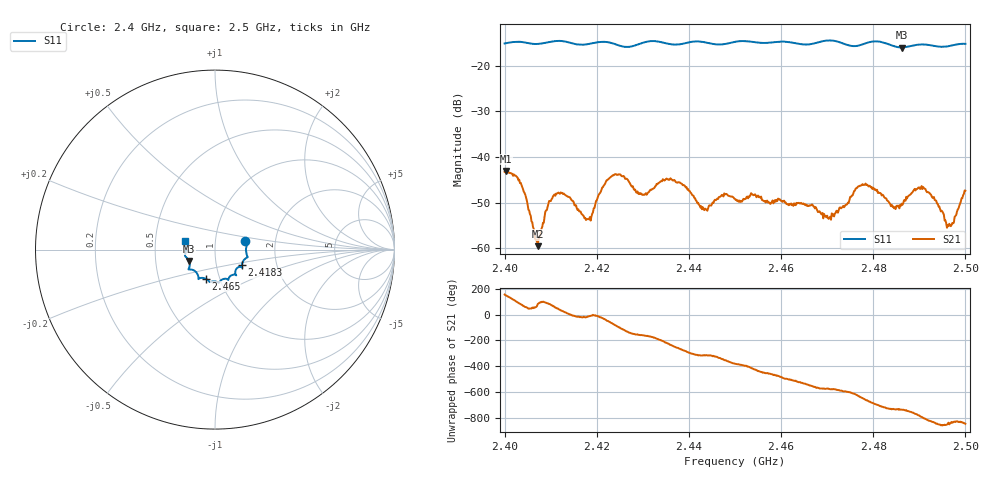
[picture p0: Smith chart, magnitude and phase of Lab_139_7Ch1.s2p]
# Hz S RI R 50
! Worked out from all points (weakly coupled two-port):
!   601 points, 2.4 GHz to 2.5 GHz, reference 50 ohm
!   highest |S21| = -43.06 dB at 2.4003 GHz (marker M1); lowest = -59.6 dB at 2.4072 GHz (marker M2)
!   lowest |S11| = -16.0 dB at 2.4862 GHz (marker M3), VSWR 1.37, Z = 37.1 - j4.8 ohm
!   |S11| at or under -10 dB: start of sweep to end of sweep
!   S12 and S22 are empty: the file has one direction only
!   S11 on the Smith chart (normalised r, x): 2.4 GHz: 1.40, +0.13; 2.4183 GHz: 1.33, -0.24; 2.465 GHz: 0.86, -0.29; 2.5 GHz: 0.71, +0.07
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2.4e9  0.1686 0.0455  -0.00631 0.00263  0 0  0 0
2.400333e9  0.1707 0.0432  -0.00611 0.00348  0 0  0 0
2.403667e9  0.1791 0.029  0.000989 0.00483  0 0  0 0
2.407167e9  0.1728 -0.00531  0.000141 0.00104  0 0  0 0
2.411167e9  0.1817 -0.0399  0.00231 0.00322  0 0  0 0
2.416667e9  0.1548 -0.0684  0.00225 -0.000782  0 0  0 0
2.418333e9  0.1498 -0.0868  0.00204 -0.000416  0 0  0 0
2.423667e9  0.1449 -0.0967  0.00179 -0.00602  0 0  0 0
2.4295e9  0.1129 -0.1331  -0.00366 -0.00144  0 0  0 0
2.433333e9  0.1167 -0.1414  -0.0051 0.000845  0 0  0 0
2.438333e9  0.0802 -0.1521  -0.000139 0.0051  0 0  0 0
2.4435e9  0.0701 -0.1656  0.00199 0.00185  0 0  0 0
2.45e9  0.0251 -0.1806  0.00324 -0.00122  0 0  0 0
2.465e9  -0.0529 -0.1621  -0.00303 -0.000202  0 0  0 0
2.466667e9  -0.0714 -0.1575  -0.00293 0.000706  0 0  0 0
2.470667e9  -0.0923 -0.1645  -0.00171 0.00141  0 0  0 0
2.478167e9  -0.1345 -0.1111  0.00234 0.00438  0 0  0 0
2.483333e9  -0.1422 -0.0959  0.00318 -0.000612  0 0  0 0
2.486167e9  -0.1446 -0.0631  0.00292 -0.000965  0 0  0 0
2.490833e9  -0.1672 -0.0338  0.000668 -0.00464  0 0  0 0
2.4965e9  -0.1624 0.0223  -0.00125 -0.00137  0 0  0 0
2.5e9  -0.1667 0.0473  -0.00265 -0.00334  0 0  0 0
